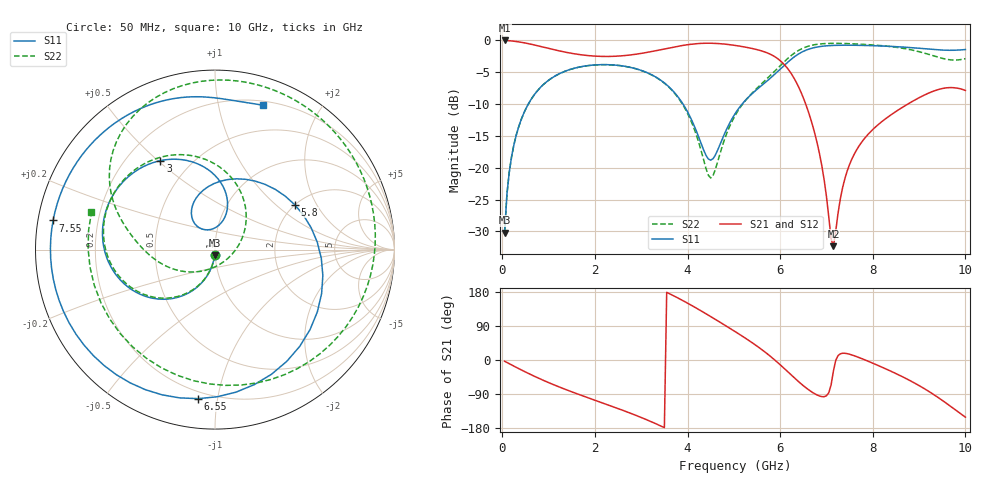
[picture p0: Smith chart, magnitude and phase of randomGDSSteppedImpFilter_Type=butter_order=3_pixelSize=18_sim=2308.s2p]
! freq	dB(S11)	phase(S11)	dB(S12)	phase(S12)
!  dB(S21)	phase(S21)	dB(S22)	phase(S22)
!S-par simulation data
#  GHz  S  DB  R 50
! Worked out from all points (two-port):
!   200 points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, 50 MHz to 10 GHz, reference 50 ohm
!   highest |S21| = -0.01 dB at 50 MHz (marker M1); lowest = -32.3 dB at 7.15 GHz (marker M2)
!   |S21| within 3 dB of the highest: start of sweep to 5.972 GHz
!   lowest |S11| = -30.2 dB at 50 MHz (marker M3), VSWR 1.06, Z = 49.7 - j3.08 ohm
!   |S11| at or under -10 dB: start of sweep to 562 MHz; 3.902 GHz to 5.179 GHz (1.276 GHz wide, 28.1 % of centre)
!   |S22| runs from -30.2 to -0.5 dB; largest |S21 - S12| = 0
!   S11 on the Smith chart (normalised r, x): 50 MHz: 0.99, -0.06; 3 GHz: 0.34, +0.51; 5.8 GHz: 1.99, +1.35; 6.55 GHz: 0.16, -0.88; 7.55 GHz: 0.04, +0.09; 10 GHz: 0.24, +1.36
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0.05  -30.17 -93.4  -0.01 -3.3  -0.01 -3.3  -30.17 -93.5
0.2  -18.28 -103.4  -0.09 -13.0  -0.09 -13.0  -18.28 -103.7
0.5  -10.86 -121.8  -0.42 -31.6  -0.42 -31.6  -10.87 -122.6
1.05  -6.00 -151.9  -1.34 -62.2  -1.34 -62.2  -6.00 -153.6
1.75  -4.07 175.8  -2.30 -95.2  -2.30 -95.2  -4.07 172.9
3  -4.71 121.6  -2.04 -151.7  -2.04 -151.7  -4.72 115.1
3.4  -6.14 102.4  -1.49 -172.8  -1.49 -172.8  -6.18 93.0
3.95  -10.56 77.0  -0.73 153.4  -0.73 153.4  -10.76 54.1
4.5  -18.81 102.9  -0.44 114.6  -0.44 114.6  -21.60 -53.0
5.05  -11.25 117.4  -0.81 73.3  -0.81 73.3  -11.52 -157.0
5.5  -7.69 72.9  -1.45 36.7  -1.45 36.7  -7.50 176.6
5.8  -5.85 29.4  -2.22 8.6  -2.22 8.6  -5.41 163.5
6.15  -3.51 -31.3  -4.31 -29.3  -4.31 -29.3  -2.92 145.5
6.55  -1.56 -96.5  -9.96 -72.7  -9.96 -72.7  -1.05 118.2
6.7  -1.19 -116.4  -13.33 -85.7  -13.33 -85.7  -0.74 107.8
7.15  -0.79 -161.9  -32.31 -29.3  -32.31 -29.3  -0.46 79.1
7.55  -0.76 169.8  -18.61 13.3  -18.61 13.3  -0.53 55.6
8.35  -0.92 128.6  -11.91 -27.2  -11.91 -27.2  -0.94 5.5
8.85  -1.15 108.1  -9.60 -57.3  -9.60 -57.3  -1.51 -34.9
9.3  -1.42 92.1  -7.99 -89.9  -7.99 -89.9  -2.40 -85.4
9.7  -1.55 80.2  -7.41 -124.0  -7.41 -124.0  -3.07 -146.6
10  -1.43 71.7  -7.86 -150.9  -7.86 -150.9  -2.87 163.3
